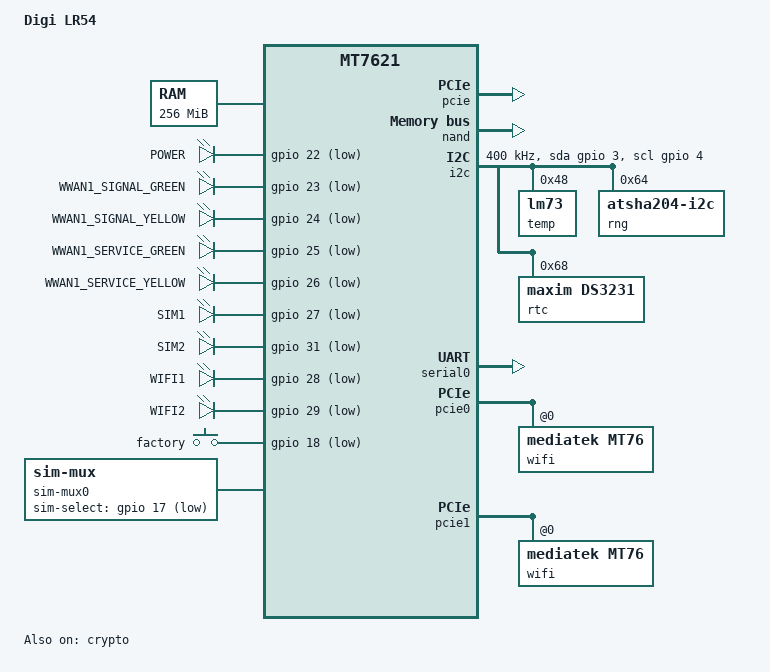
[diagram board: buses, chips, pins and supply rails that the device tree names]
/dts-v1/;

#include "mt7621.dtsi"
#include <dt-bindings/gpio/gpio.h>
#include <dt-bindings/input/input.h>
#include "mt7621_pstore.dtsi"

/ {
	model = "Digi LR54";
	compatible = "digi,lr54", "mediatek,mt7621-soc";

	memory@0 {
		device_type = "memory";
		reg = <0x0 0x10000000>;
	};

	/* Have to swap serial port 0 and 1, because of historical reasons
	 * (bootloader is passing ttyS1 as console port) */
	aliases {
		serial0 = &serial1;
		serial1 = &serial0;
	};

	chosen {
		stdout-path = "serial1:115200";
	};

	leds {
		compatible = "gpio-leds";

		power {
			label = "POWER";
			gpios = <&gpio 22 GPIO_ACTIVE_LOW>;
			default-state = "on";
			linux,default-trigger = "timer";
		};

		wwan1_signal_green {
			label = "WWAN1_SIGNAL_GREEN";
			gpios = <&gpio 23 GPIO_ACTIVE_LOW>;
			default-state = "off";
		};

		wwan1_signal_yellow {
			label = "WWAN1_SIGNAL_YELLOW";
			gpios = <&gpio 24 GPIO_ACTIVE_LOW>;
			default-state = "off";
		};

		wwan1_service_green {
			label = "WWAN1_SERVICE_GREEN";
			gpios = <&gpio 25 GPIO_ACTIVE_LOW>;
			default-state = "off";
		};

		wwan1_service_yellow {
			label = "WWAN1_SERVICE_YELLOW";
			gpios = <&gpio 26 GPIO_ACTIVE_LOW>;
			default-state = "off";
		};

		sim1 {
			label = "SIM1";
			gpios = <&gpio 27 GPIO_ACTIVE_LOW>;
			default-state = "off";
		};

		sim2 {
			label = "SIM2";
			gpios = <&gpio 31 GPIO_ACTIVE_LOW>;
			default-state = "off";
		};

		wifi1 {
			label = "WIFI1";
			gpios = <&gpio 28 GPIO_ACTIVE_LOW>;
			default-state = "off";
		};

		wifi2 {
			label = "WIFI2";
			gpios = <&gpio 29 GPIO_ACTIVE_LOW>;
			default-state = "off";
		};
	};

	gpio-keys {
		compatible = "gpio-keys";
		factory-button {
			label = "factory";
			linux,code = <KEY_DELETE>;
			gpios = <&gpio 18 GPIO_ACTIVE_LOW>; /* RST_PBC_N */
		};
	};

	sim-mux0 {
		compatible = "sim-mux";

		sim-select-gpios  = <&gpio 17 GPIO_ACTIVE_LOW>;

		sim-count = <2>;
	};
};

&pcie {
	pinctrl-names = "default";
	pinctrl-0 = <&pcie_pins>;
	status = "okay";
};

&nand {
	status = "okay";
	pin-ctrl-names = "default";
	pinctrl-0 = <&nand_pins>;

	partition@0 {
		label = "all";
		reg = <0x00000000 0>;
	};
	partition@1 {
		label = "u-boot";
		reg = <0x00000000 0x00200000>;
	};
	partition@2 {
		label = "u-boot-env";
		reg = <0x00200000 0x00100000>;
	};
	partition@3 {
		label = "u-boot-env1";
		reg = <0x00300000 0x00100000>;
	};
	partition@4 {
		label = "flash";
		reg = <0x00400000 0x09680000>;
	};
	partition@5 {
		label = "userfs";
		reg = <0x09a80000 0x064c0000>;
	};
	partition@6 {
		label = "csid";
		reg = <0x0ff40000 0x00020000>;
	};
	partition@7 {
		label = "odm";
		reg = <0x0ff60000 0x00020000>;
	};
};

/* Overwrite dtsi's pinctrl. LR54 is using RGMII2 pins as GPIOs */
&ethernet {
	pinctrl-0 = <&mdio_pins>, <&rgmii1_pins>;
};

&gmac1 {
        status = "disabled";
};

&switch0 {
	ports {
		port@1 {
			status = "okay";
			label = "eth1";
		};
		port@2 {
			status = "okay";
			label = "eth2";
		};
		port@3 {
			status = "okay";
			label = "eth3";
		};
		port@4 {
			status = "okay";
			label = "eth4";
		};
	};
};

&i2c {
	clock-frequency = <400000>;
	status = "okay";
	pinctrl-names = "default", "gpio";
	pinctrl-1 = <&i2c_gpios>;
	sda-gpios = <&gpio 3 GPIO_ACTIVE_HIGH>;
	scl-gpios = <&gpio 4 GPIO_ACTIVE_HIGH>;

	temp: lm73@48 {
		compatible = "lm73";
		reg = <0x48>;
	};

	rng: atsha204a@64 {
		compatible = "atsha204-i2c";
		reg = <0x64>;
	};

	rtc: ds3231@68 {
		compatible = "maxim,ds3231";
		reg = <0x68>;
		interrupts = <3>;
	};
};

&serial0 {
	status = "okay";
};

&pinctrl {
	state_default: pinctrl0 {
		gpio {
			groups = "rgmii2";
			function = "gpio";
		};
	};

	i2c_gpios: i2c_gpios {
		i2c {
			groups = "i2c";
			function = "gpio";
		};
	};
};

&gpio {
	gpio-line-names = "", "", "", "", "", "", "", "",
			  "", "", "", "", "", "", "", "",
			  "", "", "factory", "", "", "", "", "",
			  "", "", "", "", "", "", "", "",
			  "", "", "", "", "", "", "", "",
			  "", "", "", "", "", "", "", "",
			  "", "", "", "", "", "", "", "",
			  "", "", "", "", "", "", "", "",
			  "", "", "", "", "", "", "", "",
			  "", "", "", "", "", "", "", "",
			  "", "", "", "", "", "", "", "",
			  "", "", "", "", "", "", "", "";
};

&crypto {
	status = "okay";
};

&pcie0 {
	wifi@0,0 {
		compatible = "mediatek,mt76";
		reg = <0x0000 0 0 0 0>;
		mediatek,file-eeprom = "mt7612_caldata.bin";
	};
};

&pcie1 {
	wifi@0,0 {
		compatible = "mediatek,mt76";
		reg = <0x0000 0 0 0 0>;
		mediatek,file-eeprom = "mt7603_caldata.bin";
	};
};
